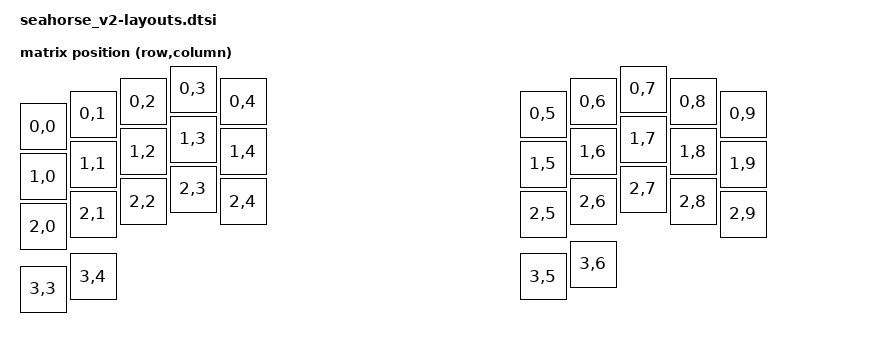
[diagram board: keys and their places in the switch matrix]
#include <physical_layouts.dtsi>
/{

	default_transform: keymap_transform_0 {
		compatible = "zmk,matrix-transform";
		columns = <10>;
		rows = <4>; 
		// | SW1  | | SW2  | |SW3  | | SW4  | | SW5  |    | SW5  | | SW4  | | SW3  | | SW2  | | SW1  |
		// | SW6  | | SW7  | |SW8  | | SW9  | | SW10 |    | SW10 | | SW9  | | SW8  | | SW7  | | SW6  |
		// | SW11 | | SW12 | |SW13 | | SW14 | | SW15 |    | SW15 | | SW14 | | SW13 | | SW12 | | SW11 |
		//                           | SW16 | | SW17 |    | SW17 | | SW16 |
		map = <
			RC(0,0)  RC(0,1)  RC(0,2)  RC(0,3)  RC(0,4)    RC(0,5) RC(0,6) RC(0,7) RC(0,8) RC(0,9)
			RC(1,0)  RC(1,1)  RC(1,2)  RC(1,3)  RC(1,4)    RC(1,5) RC(1,6) RC(1,7) RC(1,8) RC(1,9)
			RC(2,0)  RC(2,1)  RC(2,2)  RC(2,3)  RC(2,4)    RC(2,5) RC(2,6) RC(2,7) RC(2,8) RC(2,9)
									               RC(3,3)  RC(3,4)    RC(3,5) RC(3,6)
		>;
	};


    physical_layout0: physical_layout0 {
        compatible = "zmk,physical-layout";
        display-name = "Do52 Layout";
        kscan = <&kscan0>;
        transform = <&default_transform0>;
        keys  //                     w   h    x    y     rot    rx    ry
            = 
            //top letter row
              <&key_physical_attrs 100 100    0  175       0     0     0>
            , <&key_physical_attrs 100 100  100  150       0     0     0>
            , <&key_physical_attrs 100 100  200  125       0     0     0>
            , <&key_physical_attrs 100 100  300  100       0     0     0>
            , <&key_physical_attrs 100 100  400  125       0     0     0>
            //
            , <&key_physical_attrs 100 100 1000  150       0     0     0>
            , <&key_physical_attrs 100 100 1100  125       0     0     0>
            , <&key_physical_attrs 100 100 1200  100       0     0     0>
            , <&key_physical_attrs 100 100 1300  125       0     0     0>
            , <&key_physical_attrs 100 100 1400  150       0     0     0>
            //middle letter row
            , <&key_physical_attrs 100 100    0  275       0     0     0>
            , <&key_physical_attrs 100 100  100  250       0     0     0>
            , <&key_physical_attrs 100 100  200  225       0     0     0>
            , <&key_physical_attrs 100 100  300  200       0     0     0>
            , <&key_physical_attrs 100 100  400  225       0     0     0>
            //
            , <&key_physical_attrs 100 100 1000  250       0     0     0>
            , <&key_physical_attrs 100 100 1100  225       0     0     0>
            , <&key_physical_attrs 100 100 1200  200       0     0     0>
            , <&key_physical_attrs 100 100 1300  225       0     0     0>
            , <&key_physical_attrs 100 100 1400  250       0     0     0>
            //bottom letter row
            , <&key_physical_attrs 100 100    0  375       0     0     0>
            , <&key_physical_attrs 100 100  100  350       0     0     0>
            , <&key_physical_attrs 100 100  200  325       0     0     0>
            , <&key_physical_attrs 100 100  300  300       0     0     0>
            , <&key_physical_attrs 100 100  400  325       0     0     0>
            //
            , <&key_physical_attrs 100 100 1000  350       0     0     0>
            , <&key_physical_attrs 100 100 1100  325       0     0     0>
            , <&key_physical_attrs 100 100 1200  300       0     0     0>
            , <&key_physical_attrs 100 100 1300  325       0     0     0>
            , <&key_physical_attrs 100 100 1400  350       0     0     0>
            //thunb row
            , <&key_physical_attrs 100 100    0  500       0     0     0>
            , <&key_physical_attrs 100 100  100  475       0     0     0>
            //
            , <&key_physical_attrs 100 100 1000  475       0     0     0>
            , <&key_physical_attrs 100 100 1100  450       0     0     0>
            ;
    };
};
